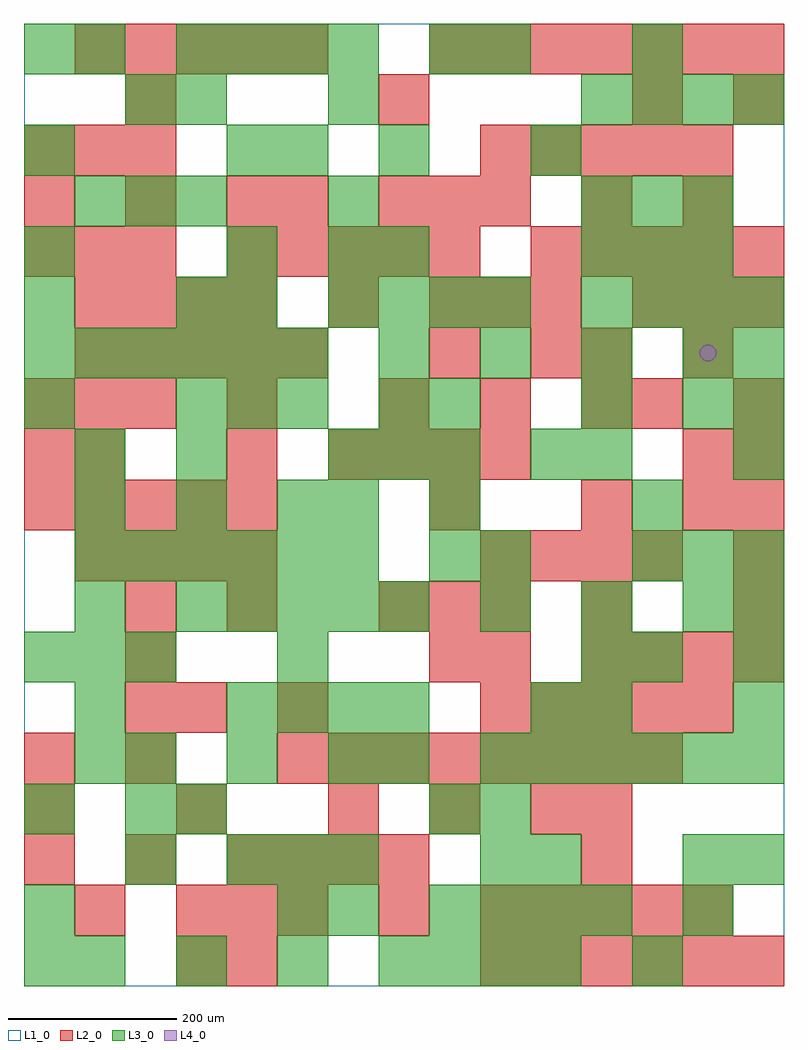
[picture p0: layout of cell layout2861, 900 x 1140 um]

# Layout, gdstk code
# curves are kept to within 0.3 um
import gdstk
lib = gdstk.Library(unit=1e-6, precision=1e-09)
def R(c, l, rs):  # rectangles x0, y0, x1, y1
    for r in rs: c.add(gdstk.rectangle(r[:2], r[2:], *l))
def A(c, l, x, y, w, h, nx, ny, dx, dy):  # array of equal rectangles
    R(c, l, [(x+i*dx, y+j*dy, x+i*dx+w, y+j*dy+h) for i in range(nx) for j in range(ny)])
def P(c, l, *ps):  # polygons
    for p in ps: c.add(gdstk.Polygon(p, *l))
L1_0 = (1, 0)
L2_0 = (2, 0)
L3_0 = (3, 0)
L4_0 = (4, 0)

layout2861 = lib.new_cell('layout2861')
R(layout2861, L1_0, [(0,0,900,1140)])
A(layout2861, L2_0, 540, 0, 60, 60, 6, 1, 60, 0)
A(layout2861, L2_0, 180, 60, 60, 60, 3, 1, 60, 0)
A(layout2861, L2_0, 540, 60, 60, 60, 5, 2, 60, 240)
A(layout2861, L2_0, 0, 120, 60, 60, 3, 2, 120, 780)
A(layout2861, L2_0, 300, 120, 60, 60, 3, 1, 60, 0)
A(layout2861, L2_0, 0, 180, 60, 60, 3, 1, 180, 0)
A(layout2861, L2_0, 480, 180, 60, 60, 1, 4, 0, 180)
A(layout2861, L2_0, 120, 240, 60, 60, 1, 4, 0, 60)
A(layout2861, L2_0, 300, 240, 60, 60, 8, 1, 60, 0)
A(layout2861, L2_0, 660, 360, 60, 60, 4, 1, 60, 0)
A(layout2861, L2_0, 420, 420, 60, 60, 3, 2, 60, 480)
A(layout2861, L2_0, 840, 420, 60, 60, 1, 5, 0, 60)
A(layout2861, L2_0, 60, 480, 60, 60, 4, 2, 60, 300)
A(layout2861, L2_0, 540, 480, 60, 60, 4, 1, 60, 0)
A(layout2861, L2_0, 0, 540, 60, 60, 5, 1, 60, 0)
A(layout2861, L2_0, 660, 540, 60, 60, 1, 3, 0, 180)
A(layout2861, L2_0, 360, 600, 60, 60, 4, 1, 60, 0)
A(layout2861, L2_0, 0, 660, 60, 60, 3, 2, 60, 180)
A(layout2861, L2_0, 420, 660, 60, 60, 3, 1, 120, 0)
A(layout2861, L2_0, 60, 720, 60, 60, 5, 2, 60, 360)
A(layout2861, L2_0, 480, 780, 60, 60, 3, 1, 60, 0)
A(layout2861, L2_0, 720, 780, 60, 60, 3, 1, 60, 0)
A(layout2861, L2_0, 240, 840, 60, 60, 5, 1, 60, 0)
A(layout2861, L2_0, 600, 840, 60, 60, 5, 1, 60, 0)
A(layout2861, L2_0, 0, 960, 60, 60, 3, 1, 60, 0)
A(layout2861, L2_0, 540, 960, 60, 60, 5, 1, 60, 0)
A(layout2861, L2_0, 120, 1020, 60, 60, 3, 1, 300, 0)
A(layout2861, L2_0, 480, 1080, 60, 60, 7, 1, 60, 0)
R(layout2861, L2_0, [(180,0,240,60), (240,0,300,60), (60,60,120,120), (420,60,480,120), (660,120,720,180), (600,180,660,240), (660,180,720,240), (0,240,60,300), (180,300,240,360), (300,300,360,360), (540,360,600,420), (240,420,300,480), (660,420,720,480), (780,540,840,600), (0,600,60,660), (60,600,120,660), (240,600,300,660), (780,600,840,660), (240,660,300,720), (720,660,780,720), (600,720,660,780), (780,720,840,780), (360,780,420,840), (300,900,360,960), (780,900,840,960), (840,1020,900,1080)])
A(layout2861, L3_0, 60, 0, 60, 60, 4, 1, 120, 0)
A(layout2861, L3_0, 480, 0, 60, 60, 3, 1, 60, 0)
A(layout2861, L3_0, 480, 60, 60, 60, 4, 1, 60, 0)
A(layout2861, L3_0, 240, 120, 60, 60, 3, 1, 60, 0)
A(layout2861, L3_0, 120, 240, 60, 60, 3, 1, 120, 0)
A(layout2861, L3_0, 540, 240, 60, 60, 6, 1, 60, 0)
A(layout2861, L3_0, 240, 300, 60, 60, 4, 1, 60, 0)
A(layout2861, L3_0, 840, 300, 60, 60, 1, 3, 0, 60)
A(layout2861, L3_0, 0, 360, 60, 60, 3, 1, 60, 0)
A(layout2861, L3_0, 180, 420, 60, 60, 5, 1, 60, 0)
A(layout2861, L3_0, 540, 420, 60, 60, 3, 1, 120, 0)
A(layout2861, L3_0, 60, 480, 60, 60, 6, 1, 60, 0)
A(layout2861, L3_0, 720, 480, 60, 60, 3, 1, 60, 0)
A(layout2861, L3_0, 60, 540, 60, 60, 3, 1, 120, 0)
A(layout2861, L3_0, 360, 600, 60, 60, 3, 1, 60, 0)
A(layout2861, L3_0, 840, 600, 60, 60, 1, 3, 0, 60)
A(layout2861, L3_0, 180, 660, 60, 60, 3, 1, 60, 0)
A(layout2861, L3_0, 0, 720, 60, 60, 6, 1, 60, 0)
A(layout2861, L3_0, 420, 720, 60, 60, 4, 1, 120, 0)
A(layout2861, L3_0, 360, 780, 60, 60, 4, 1, 60, 0)
A(layout2861, L3_0, 660, 780, 60, 60, 4, 2, 60, 240)
A(layout2861, L3_0, 0, 840, 60, 60, 1, 3, 0, 120)
A(layout2861, L3_0, 660, 840, 60, 60, 3, 2, 60, 60)
A(layout2861, L3_0, 60, 900, 60, 60, 3, 1, 60, 0)
A(layout2861, L3_0, 180, 1080, 60, 60, 4, 1, 60, 0)
R(layout2861, L3_0, [(0,0,60,60), (720,0,780,60), (0,60,60,120), (300,60,360,120), (360,60,420,120), (780,60,840,120), (120,120,180,180), (540,120,600,180), (600,120,660,180), (780,120,840,180), (840,120,900,180), (0,180,60,240), (120,180,180,240), (180,180,240,240), (480,180,540,240), (540,180,600,240), (60,240,120,300), (420,240,480,300), (60,300,120,360), (600,300,660,360), (660,300,720,360), (300,360,360,420), (660,360,720,420), (720,360,780,420), (60,420,120,480), (480,480,540,540), (540,480,600,540), (360,540,420,600), (480,540,540,600), (720,540,780,600), (60,600,120,660), (180,600,240,660), (600,600,660,660), (660,600,720,660), (0,660,60,720), (420,660,480,720), (480,660,540,720), (660,660,720,720), (780,660,840,720), (0,780,60,840), (180,780,240,840), (240,780,300,840), (240,840,300,900), (360,840,420,900), (420,840,480,900), (360,900,420,960), (240,960,300,1020), (300,960,360,1020), (420,960,480,1020), (600,960,660,1020), (120,1020,180,1080), (180,1020,240,1080), (360,1020,420,1080), (60,1080,120,1140), (480,1080,540,1140), (540,1080,600,1140), (720,1080,780,1140)])
P(layout2861, L4_0, [(820,750),(819.239,753.827),(817.071,757.071),(813.827,759.239),(810,760),(806.173,759.239),(802.929,757.071),(800.761,753.827),(800,750),(800.761,746.173),(802.929,742.929),(806.173,740.761),(810,740),(813.827,740.761),(817.071,742.929),(819.239,746.173)])

lib.write_gds('layout2861.gds')
